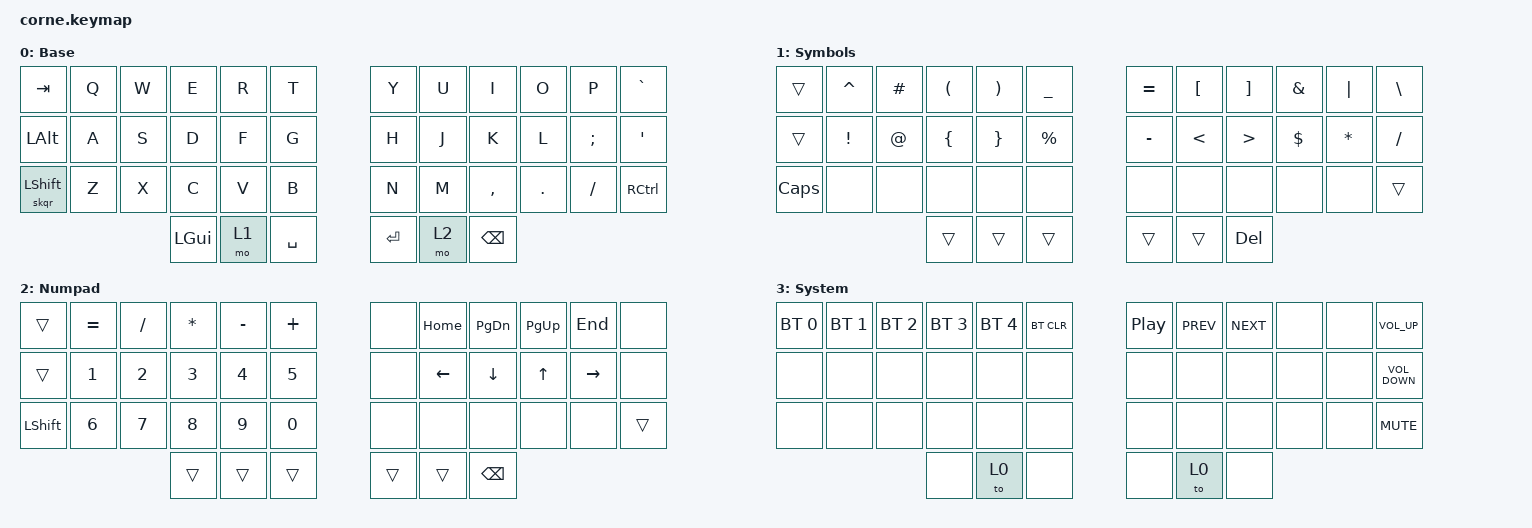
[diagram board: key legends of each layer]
/*
 * Copyright (c) 2020 The ZMK Contributors
 *
 * SPDX-License-Identifier: MIT
 */

#include <behaviors.dtsi>
#include <dt-bindings/zmk/bt.h>
#include <dt-bindings/zmk/keys.h>

/ {
    behaviors {
        skqr: skqr {
            compatible = "zmk,behavior-sticky-key";
            label = "SKQR";
            bindings = <&kp>;
            #binding-cells = <1>;
            release-after-ms = <800>;
            quick-release;
            ignore-modifiers;
        };
    };

    combos {
        compatible = "zmk,combos";

        combo_esc {
            bindings = <&kp ESCAPE>;
            key-positions = <0 1>;
            layers = <0 2 1>;
            timeout-ms = <75>;
        };

        combo_hyper_left {
            bindings = <&skqr LS(LA(LC(LEFT_GUI)))>;
            key-positions = <27 28>;
            timeout-ms = <75>;
            layers = <0 2 1>;
        };

        combo_hyper_right {
            bindings = <&skqr RS(RA(RC(RIGHT_GUI)))>;
            key-positions = <32 31>;
            timeout-ms = <75>;
            layers = <0 2 1>;
        };

        combo_system_layer {
            bindings = <&to 3>;
            key-positions = <40 30>;
            timeout-ms = <75>;
            layers = <0>;
        };
    };

    keymap {
        compatible = "zmk,keymap";

        base_layer {
            bindings = <
&kp TAB           &kp Q  &kp W  &kp E         &kp R  &kp T        &kp Y    &kp U  &kp I          &kp O    &kp P          &kp GRAVE
&kp LEFT_ALT      &kp A  &kp S  &kp D         &kp F  &kp G        &kp H    &kp J  &kp K          &kp L    &kp SEMICOLON  &kp SQT
&skqr LEFT_SHIFT  &kp Z  &kp X  &kp C         &kp V  &kp B        &kp N    &kp M  &kp COMMA      &kp DOT  &kp FSLH       &kp RIGHT_CONTROL
                                &kp LEFT_GUI  &mo 1  &kp SPACE    &kp RET  &mo 2  &kp BACKSPACE
            >;

            label = "Base";
        };

        symbols_layer {
            bindings = <
&trans    &kp CARET        &kp HASH     &kp LEFT_PARENTHESIS  &kp RIGHT_PARENTHESIS  &kp UNDERSCORE    &kp EQUAL  &kp LEFT_BRACKET  &kp RIGHT_BRACKET  &kp AMPERSAND  &kp PIPE      &kp BACKSLASH
&trans    &kp EXCLAMATION  &kp AT_SIGN  &kp LEFT_BRACE        &kp RIGHT_BRACE        &kp PERCENT       &kp MINUS  &kp LESS_THAN     &kp GREATER_THAN   &kp DOLLAR     &kp ASTERISK  &kp SLASH
&kp CAPS  &none            &none        &none                 &none                  &none             &none      &none             &none              &none          &none         &trans
                                        &trans                &trans                 &trans            &trans     &trans            &kp DELETE
            >;

            label = "Symbols";
        };

        numpad_layer {
            bindings = <
&trans          &kp EQUAL     &kp SLASH     &kp ASTERISK  &kp MINUS     &kp PLUS        &none   &kp HOME  &kp PAGE_DOWN  &kp PAGE_UP   &kp END    &none
&trans          &kp NUMBER_1  &kp NUMBER_2  &kp NUMBER_3  &kp NUMBER_4  &kp NUMBER_5    &none   &kp LEFT  &kp DOWN       &kp UP_ARROW  &kp RIGHT  &none
&kp LEFT_SHIFT  &kp NUMBER_6  &kp NUMBER_7  &kp NUMBER_8  &kp NUMBER_9  &kp NUMBER_0    &none   &none     &none          &none         &none      &trans
                                            &trans        &trans        &trans          &trans  &trans    &kp BACKSPACE
            >;

            label = "Numpad";
        };

        system_layer {
            bindings = <
&bt BT_SEL 0  &bt BT_SEL 1  &bt BT_SEL 2  &bt BT_SEL 3  &bt BT_SEL 4  &bt BT_CLR    &kp C_PP  &kp C_PREV  &kp C_NEXT  &none  &none  &kp C_VOLUME_UP
&none         &none         &none         &none         &none         &none         &none     &none       &none       &none  &none  &kp C_VOLUME_DOWN
&none         &none         &none         &none         &none         &none         &none     &none       &none       &none  &none  &kp C_MUTE
                                          &none         &to 0         &none         &none     &to 0       &none
            >;

            label = "System";
        };
    };
};
